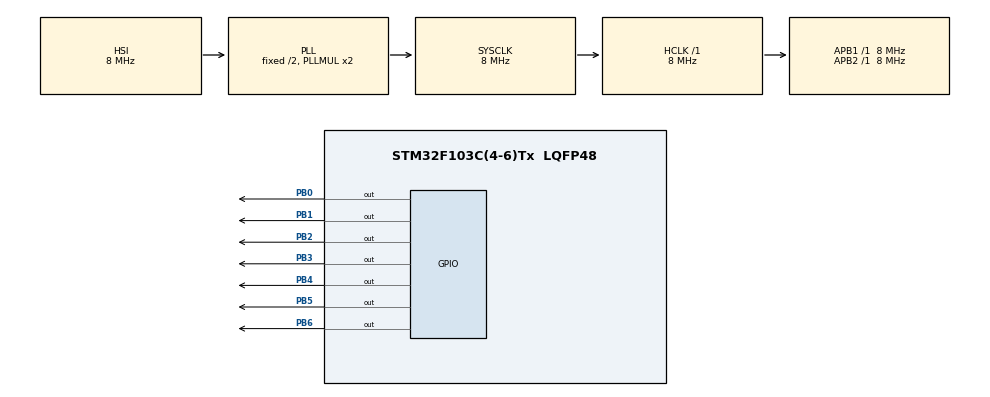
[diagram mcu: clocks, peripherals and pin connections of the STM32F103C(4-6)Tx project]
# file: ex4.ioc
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Mcu.Family=STM32F1
Mcu.Name=STM32F103C(4-6)Tx
Mcu.Package=LQFP48
NVIC.PriorityGroup=NVIC_PRIORITYGROUP_4
NVIC.TIM2_IRQn=true\:0\:0\:false\:false\:true\:true\:true\:true
PB0.Signal=GPIO_Output
PB1.Signal=GPIO_Output
PB2.Signal=GPIO_Output
PB3.Signal=GPIO_Output
PB4.Signal=GPIO_Output
PB5.Signal=GPIO_Output
PB6.Signal=GPIO_Output
ProjectManager.HeapSize=0x200
ProjectManager.StackSize=0x400
ProjectManager.TargetToolchain=STM32CubeIDE
RCC.AHBFreq_Value=8000000
RCC.APB1Freq_Value=8000000
RCC.APB1TimFreq_Value=8000000
RCC.APB2Freq_Value=8000000
RCC.APB2TimFreq_Value=8000000
RCC.HCLKFreq_Value=8000000
RCC.SYSCLKFreq_VALUE=8000000
RCC.SYSCLKSource=RCC_SYSCLKSOURCE_PLLCLK
RCC.USBFreq_Value=8000000
TIM2.Period=999
TIM2.Prescaler=7999
VP_SYS_VS_ND.Mode=No_Debug
VP_TIM2_VS_ClockSourceINT.Mode=Internal
board=custom

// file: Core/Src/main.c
/* USER CODE BEGIN Header */
/**
  ******************************************************************************
  * @file           : main.c
  * @brief          : Main program body
  ******************************************************************************
  * @attention
  *
  * Copyright (c) 2022 STMicroelectronics.
  * All rights reserved.
  *
  * This software is licensed under terms that can be found in the LICENSE file
  * in the root directory of this software component.
  * If no LICENSE file comes with this software, it is provided AS-IS.
  *
  ******************************************************************************
  */
/* USER CODE END Header */
#include "main.h"

/* USER CODE BEGIN Includes */
#include<stdlib.h>
/* USER CODE END Includes */

 TIM_HandleTypeDef htim2;

void SystemClock_Config(void);
static void MX_GPIO_Init(void);
static void MX_TIM2_Init(void);

/* USER CODE BEGIN 0 */
void turnOnB(int *arr, int n){
  char state = 0;
  for (int i = 0; i < n; i++){
	  switch(arr[i]){
		  case 0:
			  HAL_GPIO_WritePin(GPIOB, GPIO_PIN_0, state);
			  break;
		  case 1:
			  HAL_GPIO_WritePin(GPIOB, GPIO_PIN_1, state);
			  break;
		  case 2:
			  HAL_GPIO_WritePin(GPIOB, GPIO_PIN_2, state);
			  break;
		  case 3:
			  HAL_GPIO_WritePin(GPIOB, GPIO_PIN_3, state);
			  break;
		  case 4:
			  HAL_GPIO_WritePin(GPIOB, GPIO_PIN_4, state);
			  break;
		  case 5:
			  HAL_GPIO_WritePin(GPIOB, GPIO_PIN_5, state);
			  break;
		  case 6:
			  HAL_GPIO_WritePin(GPIOB, GPIO_PIN_6, state);
			  break;

		  default:
			  break;
	  }
  }
}

void turnOffB(int *arr, int n){
  char state = 1;
  for (int i = 0; i < n; i++){
	  switch(arr[i]){
		  case 0:
			  HAL_GPIO_WritePin(GPIOB, GPIO_PIN_0, state);
			  break;
		  case 1:
			  HAL_GPIO_WritePin(GPIOB, GPIO_PIN_1, state);
			  break;
		  case 2:
			  HAL_GPIO_WritePin(GPIOB, GPIO_PIN_2, state);
			  break;
		  case 3:
			  HAL_GPIO_WritePin(GPIOB, GPIO_PIN_3, state);
			  break;
		  case 4:
			  HAL_GPIO_WritePin(GPIOB, GPIO_PIN_4, state);
			  break;
		  case 5:
			  HAL_GPIO_WritePin(GPIOB, GPIO_PIN_5, state);
			  break;
		  case 6:
			  HAL_GPIO_WritePin(GPIOB, GPIO_PIN_6, state);
			  break;

		  default:
			  break;
	  }
  }
}

void segmentLed(int n){
  int *arrOn;
  int *arrOff;
  int len = 0;
  int lenOff = 0;

  if(n==0){
	len = 6;
	int tempOn[7] = {1,2,3,4,5,6};
	int tempOff[7] = {0};
	lenOff = 1;
	arrOff = tempOff;
	arrOn = tempOn;
  }

  else if(n==1){
	len = 2;
	int tempOn[7] = {5,4};
	int tempOff[7] = {1,2,3,6,0};
	lenOff = 5;
	arrOff = tempOff;
	arrOn = tempOn;
  }

  else if(n==2){
	int tempOn[7] = {6,5,0,2,3};
	int tempOff[7] = {1,4};
	lenOff = 2;
	arrOff = tempOff;
	len = 5;
	arrOn = tempOn;
  }

  else if(n==3){
	int tempOn[7] = {6,5,0,4,3};
	int tempOff[7] = {1,2};
	lenOff = 2;
	arrOff = tempOff;
	len = 5;
	arrOn = tempOn;
  }

  else if(n==4){
	int tempOn[7] = {1,0,5,4};
	int tempOff[7] = {2,3,6};
	lenOff = 3;
	arrOff = tempOff;
	len = 4;
	arrOn = tempOn;
  }

  else if(n==5){
	int tempOn[7] = {6,1,0,4,3};
	int tempOff[7] = {2,5};
	lenOff = 2;
	arrOff = tempOff;
	len = 5;
	arrOn = tempOn;
  }

  else if(n==6){
	int tempOn[7] = {6,1,0,4,3,2};
	int tempOff[7] = {5};
	lenOff = 1;
	arrOff = tempOff;
	len = 6;
	arrOn = tempOn;
  }

  else if(n==7){
	int tempOn[7] = {4,5,6};
	int tempOff[7] = {0,1,2,3};
	lenOff = 4;
	arrOff = tempOff;
	len = 3;
	arrOn = tempOn;
  }

  else if(n==8){
	int tempOn[7] = {0,1,2,3,4,5,6};
	int tempOff[7] = {};
	lenOff = 0;
	arrOff = tempOff;
	len = 7;
	arrOn = tempOn;
  }

  else if(n==9){
	int tempOn[7] = {0,1,6,5,4,3};
	int tempOff[7] = {2};
	lenOff = 1;
	arrOff = tempOff;
	len = 6;
	arrOn = tempOn;
  }

  turnOnB(arrOn, len);
  turnOffB(arrOff, lenOff);

  free(arrOn);
  arrOn = 0;
  free(arrOff);
  arrOff = 0;
}

int counter = 0;

void HAL_TIM_PeriodElapsedCallback(TIM_HandleTypeDef *htim){
	if (counter >= 10)
		counter = 0;

	segmentLed(counter++);
}
/* USER CODE END 0 */

int main(void)
{

  /* MCU Configuration--------------------------------------------------------*/

  /* Reset of all peripherals, Initializes the Flash interface and the Systick. */
  HAL_Init();

  /* Configure the system clock */
  SystemClock_Config();

  /* Initialize all configured peripherals */
  MX_GPIO_Init();
  MX_TIM2_Init();
  /* USER CODE BEGIN 2 */
  HAL_TIM_Base_Start_IT(&htim2);
  /* USER CODE END 2 */

  /* Infinite loop */
  while (1)
  {

  }
}

void SystemClock_Config(void)
{
  RCC_OscInitTypeDef RCC_OscInitStruct = {0};
  RCC_ClkInitTypeDef RCC_ClkInitStruct = {0};

  /** Initializes the RCC Oscillators according to the specified parameters
  * in the RCC_OscInitTypeDef structure.
  */
  RCC_OscInitStruct.OscillatorType = RCC_OSCILLATORTYPE_HSI;
  RCC_OscInitStruct.HSIState = RCC_HSI_ON;
  RCC_OscInitStruct.HSICalibrationValue = RCC_HSICALIBRATION_DEFAULT;
  RCC_OscInitStruct.PLL.PLLState = RCC_PLL_ON;
  RCC_OscInitStruct.PLL.PLLSource = RCC_PLLSOURCE_HSI_DIV2;
  RCC_OscInitStruct.PLL.PLLMUL = RCC_PLL_MUL2;
  if (HAL_RCC_OscConfig(&RCC_OscInitStruct) != HAL_OK)
  {
    Error_Handler();
  }

  /** Initializes the CPU, AHB and APB buses clocks
  */
  RCC_ClkInitStruct.ClockType = RCC_CLOCKTYPE_HCLK|RCC_CLOCKTYPE_SYSCLK
                              |RCC_CLOCKTYPE_PCLK1|RCC_CLOCKTYPE_PCLK2;
  RCC_ClkInitStruct.SYSCLKSource = RCC_SYSCLKSOURCE_PLLCLK;
  RCC_ClkInitStruct.AHBCLKDivider = RCC_SYSCLK_DIV1;
  RCC_ClkInitStruct.APB1CLKDivider = RCC_HCLK_DIV1;
  RCC_ClkInitStruct.APB2CLKDivider = RCC_HCLK_DIV1;

  if (HAL_RCC_ClockConfig(&RCC_ClkInitStruct, FLASH_LATENCY_0) != HAL_OK)
  {
    Error_Handler();
  }
}

static void MX_TIM2_Init(void)
{

  TIM_ClockConfigTypeDef sClockSourceConfig = {0};
  TIM_MasterConfigTypeDef sMasterConfig = {0};

  htim2.Instance = TIM2;
  htim2.Init.Prescaler = 7999;
  htim2.Init.CounterMode = TIM_COUNTERMODE_UP;
  htim2.Init.Period = 999;
  htim2.Init.ClockDivision = TIM_CLOCKDIVISION_DIV1;
  htim2.Init.AutoReloadPreload = TIM_AUTORELOAD_PRELOAD_DISABLE;
  if (HAL_TIM_Base_Init(&htim2) != HAL_OK)
  {
    Error_Handler();
  }
  sClockSourceConfig.ClockSource = TIM_CLOCKSOURCE_INTERNAL;
  if (HAL_TIM_ConfigClockSource(&htim2, &sClockSourceConfig) != HAL_OK)
  {
    Error_Handler();
  }
  sMasterConfig.MasterOutputTrigger = TIM_TRGO_RESET;
  sMasterConfig.MasterSlaveMode = TIM_MASTERSLAVEMODE_DISABLE;
  if (HAL_TIMEx_MasterConfigSynchronization(&htim2, &sMasterConfig) != HAL_OK)
  {
    Error_Handler();
  }

}

static void MX_GPIO_Init(void)
{
  GPIO_InitTypeDef GPIO_InitStruct = {0};

  /* GPIO Ports Clock Enable */
  __HAL_RCC_GPIOB_CLK_ENABLE();

  /*Configure GPIO pin Output Level */
  HAL_GPIO_WritePin(GPIOB, GPIO_PIN_0|GPIO_PIN_1|GPIO_PIN_2|GPIO_PIN_3
                          |GPIO_PIN_4|GPIO_PIN_5|GPIO_PIN_6, GPIO_PIN_RESET);

  /*Configure GPIO pins : PB0 PB1 PB2 PB3
                           PB4 PB5 PB6 */
  GPIO_InitStruct.Pin = GPIO_PIN_0|GPIO_PIN_1|GPIO_PIN_2|GPIO_PIN_3
                          |GPIO_PIN_4|GPIO_PIN_5|GPIO_PIN_6;
  GPIO_InitStruct.Mode = GPIO_MODE_OUTPUT_PP;
  GPIO_InitStruct.Pull = GPIO_NOPULL;
  GPIO_InitStruct.Speed = GPIO_SPEED_FREQ_LOW;
  HAL_GPIO_Init(GPIOB, &GPIO_InitStruct);

}

void Error_Handler(void)
{
  __disable_irq();
  while (1)
  {
  }
}
